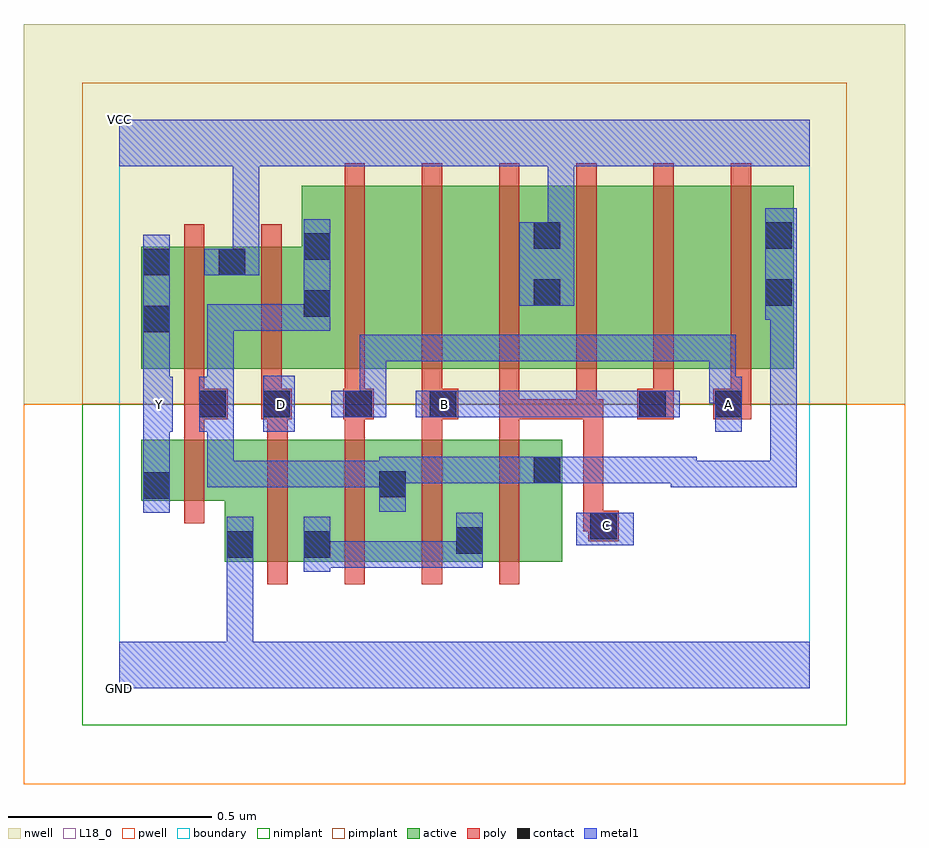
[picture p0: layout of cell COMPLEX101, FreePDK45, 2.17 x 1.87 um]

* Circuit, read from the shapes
.subckt COMPLEX101 A B C D GND VCC Y
M1 GND n1 Y VSUBS nfet w=0.15u l=0.05u
M2 n2 D GND VSUBS nfet w=0.3u l=0.05u
M3 n1 A n2 VSUBS nfet w=0.3u l=0.05u
M4 n2 B n1 VSUBS nfet w=0.3u l=0.05u
M5 n1 C n2 VSUBS nfet w=0.3u l=0.05u
M6 VCC n1 Y n3 pfet w=0.3u l=0.05u
M7 n1 D VCC n3 pfet w=0.3u l=0.05u
M8 n4 A n1 n3 pfet w=0.45u l=0.05u
M9 n5 B n4 n3 pfet w=0.45u l=0.05u
M10 VCC C n5 n3 pfet w=0.45u l=0.05u
M11 n6 C VCC n3 pfet w=0.45u l=0.05u
M12 n7 B n6 n3 pfet w=0.45u l=0.05u
M13 n1 A n7 n3 pfet w=0.45u l=0.05u
.ends

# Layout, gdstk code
import gdstk
lib = gdstk.Library(unit=1e-6, precision=1e-09)
def R(c, l, rs):  # rectangles x0, y0, x1, y1
    for r in rs: c.add(gdstk.rectangle(r[:2], r[2:], *l))
def A(c, l, x, y, w, h, nx, ny, dx, dy):  # array of equal rectangles
    R(c, l, [(x+i*dx, y+j*dy, x+i*dx+w, y+j*dy+h) for i in range(nx) for j in range(ny)])
active = (1, 0)
pwell = (2, 0)
nwell = (3, 0)
nimplant = (4, 0)
pimplant = (5, 0)
poly = (9, 0)
contact = (10, 0)
metal1 = (11, 0)
L18_0 = (18, 0)
boundary = (235, 0)

complex101 = lib.new_cell('COMPLEX101')
R(complex101, active, [(0.26,0.312,0.525,0.612), (0.45,0.312,0.71,0.612), (0.635,0.312,0.9,0.612), (0.825,0.312,1.09,0.612), (0.26,0.317,0.335,0.547), (0.45,0.317,0.525,0.547), (0.825,0.327,0.9,0.547), (0.635,0.345,0.71,0.54), (1.015,0.345,1.09,0.612), (0.055,0.462,0.335,0.612), (0.055,0.462,0.13,0.612), (0.055,0.787,0.315,1.087), (0.055,0.787,0.13,1.087), (0.24,0.787,0.525,1.087), (0.45,0.787,0.525,1.2), (0.45,0.787,0.675,1.237), (0.675,0.787,0.865,1.237), (0.865,0.787,1.09,1.237), (1.015,0.787,1.245,1.237), (1.015,0.787,1.09,1.237), (1.245,0.787,1.435,1.237), (1.435,0.787,1.66,1.237), (1.585,0.787,1.66,1.2), (0.24,1.007,0.315,1.087)])
R(complex101, pwell, [(-0.235,-0.235,1.935,0.7)])
R(complex101, nwell, [(-0.235,0.7,1.935,1.635)])
R(complex101, nimplant, [(-0.09,-0.09,1.79,0.7)])
R(complex101, pimplant, [(-0.09,0.7,1.79,1.49)])
A(complex101, poly, 0.365, 0.257, 0.05, 0.41, 4, 1, 0.19, 0)
A(complex101, poly, 0.365, 0.617, 0.05, 0.095, 4, 1, 0.19, 0)
A(complex101, poly, 0.555, 0.732, 0.05, 0.56, 6, 1, 0.19, 0)
R(complex101, poly, [(1.155,0.362,1.23,0.437), (1.142,0.387,1.192,0.712), (1.142,0.387,1.205,0.437), (1.155,0.387,1.205,0.437), (0.16,0.407,0.21,0.667), (0.16,0.617,0.21,0.712), (0.16,0.662,0.267,0.737), (0.35,0.662,0.425,0.737), (0.552,0.662,0.627,0.737), (0.745,0.662,0.835,0.737), (0.935,0.662,0.985,0.782), (0.935,0.662,1.175,0.712), (0.935,0.662,0.985,0.712), (0.935,0.662,0.985,0.712), (0.935,0.662,0.985,0.712), (1.125,0.662,1.175,0.782), (1.125,0.662,1.192,0.712), (1.275,0.662,1.365,0.737), (1.462,0.662,1.555,0.737), (0.16,0.687,0.21,0.782), (0.35,0.687,0.4,0.782), (0.555,0.687,0.605,0.782), (0.745,0.687,0.795,0.782), (1.315,0.687,1.365,0.782), (1.505,0.687,1.555,0.782), (0.16,0.732,0.21,1.142), (0.35,0.732,0.4,1.142)])
R(complex101, contact, [(0.265,0.322,0.33,0.387), (0.455,0.322,0.52,0.387), (0.83,0.332,0.895,0.397), (1.16,0.367,1.225,0.432), (0.06,0.467,0.125,0.532), (0.64,0.47,0.705,0.535), (1.02,0.505,1.085,0.57), (0.197,0.667,0.262,0.732), (0.355,0.667,0.42,0.732), (0.557,0.667,0.622,0.732), (0.765,0.667,0.83,0.732), (1.28,0.667,1.345,0.732), (1.467,0.667,1.532,0.732), (0.06,0.877,0.125,0.942), (0.455,0.915,0.52,0.98), (1.02,0.942,1.085,1.007), (1.59,0.942,1.655,1.007), (0.06,1.017,0.125,1.082), (0.245,1.017,0.31,1.082), (0.455,1.055,0.52,1.12), (1.02,1.082,1.085,1.147), (1.59,1.082,1.655,1.147)])
R(complex101, metal1, [(0,0,1.7,0.115), (0.265,0.05,0.33,0.115), (0.265,0.05,0.33,0.115), (0.265,0.05,0.33,0.352), (0.265,0.287,0.33,0.352), (0.265,0.287,0.33,0.352), (0.265,0.287,0.33,0.422), (0.455,0.287,0.52,0.422), (0.455,0.297,0.657,0.362), (0.592,0.297,0.657,0.362), (0.592,0.297,0.657,0.362), (0.592,0.297,0.657,0.362), (0.592,0.297,0.872,0.362), (0.807,0.297,0.872,0.362), (0.807,0.297,0.895,0.362), (0.83,0.297,0.895,0.432), (1.125,0.352,1.267,0.432), (0.06,0.432,0.125,0.567), (0.64,0.435,0.705,0.57), (0.217,0.495,0.282,0.56), (0.217,0.495,0.45,0.56), (0.217,0.495,0.282,0.767), (0.385,0.495,0.45,0.56), (0.385,0.495,0.45,0.56), (0.385,0.495,0.45,0.56), (0.385,0.495,0.62,0.56), (0.555,0.495,0.62,0.56), (0.555,0.495,0.705,0.56), (1.357,0.495,1.667,0.56), (1.357,0.495,1.422,0.57), (1.602,0.495,1.667,0.972), (1.602,0.495,1.667,0.56), (1.602,0.495,1.667,0.56), (1.602,0.495,1.667,0.56), (1.602,0.495,1.667,0.56), (1.602,0.495,1.667,0.56), (0.06,0.502,0.125,0.697), (0.64,0.505,0.842,0.57), (0.777,0.505,0.842,0.57), (0.777,0.505,0.842,0.57), (0.777,0.505,0.842,0.57), (0.777,0.505,1.01,0.57), (0.945,0.505,1.01,0.57), (0.945,0.505,1.05,0.57), (0.985,0.505,1.12,0.57), (1.055,0.505,1.147,0.57), (1.082,0.505,1.147,0.57), (1.082,0.505,1.285,0.57), (1.22,0.505,1.285,0.57), (1.22,0.505,1.285,0.57), (1.22,0.505,1.285,0.57), (1.22,0.505,1.422,0.57), (0.06,0.632,0.132,0.767), (0.197,0.632,0.262,0.767), (0.355,0.632,0.432,0.77), (1.467,0.632,1.532,0.767), (0.522,0.667,0.657,0.732), (0.592,0.667,0.657,0.732), (0.592,0.667,0.657,0.732), (0.592,0.667,0.657,0.87), (0.73,0.667,0.867,0.732), (0.802,0.667,0.867,0.732), (0.802,0.667,0.867,0.732), (0.802,0.667,1.01,0.732), (0.945,0.667,1.01,0.732), (0.945,0.667,1.147,0.732), (1.082,0.667,1.147,0.732), (1.082,0.667,1.147,0.732), (1.082,0.667,1.147,0.732), (1.082,0.667,1.285,0.732), (1.22,0.667,1.285,0.732), (1.22,0.667,1.31,0.732), (1.245,0.667,1.38,0.732), (0.06,0.702,0.125,0.907), (0.197,0.702,0.282,0.767), (0.217,0.702,0.282,0.767), (0.217,0.702,0.282,0.945), (1.452,0.702,1.517,0.767), (1.452,0.702,1.532,0.767), (1.452,0.702,1.517,0.87), (0.592,0.805,0.657,0.87), (0.592,0.805,0.872,0.87), (0.807,0.805,0.872,0.87), (0.807,0.805,0.872,0.87), (0.807,0.805,0.872,0.87), (0.807,0.805,1.01,0.87), (0.945,0.805,1.01,0.87), (0.945,0.805,1.147,0.87), (1.082,0.805,1.147,0.87), (1.082,0.805,1.147,0.87), (1.082,0.805,1.147,0.87), (1.082,0.805,1.285,0.87), (1.22,0.805,1.285,0.87), (1.22,0.805,1.4,0.87), (1.335,0.805,1.4,0.87), (1.335,0.805,1.517,0.87), (1.452,0.805,1.517,0.87), (0.06,0.842,0.125,1.117), (0.217,0.88,0.282,0.945), (0.217,0.88,0.45,0.945), (0.385,0.88,0.45,0.945), (0.385,0.88,0.52,0.945), (0.455,0.88,0.52,1.155), (1.59,0.907,1.667,1.182), (0.985,0.942,1.12,1.147), (0.21,1.017,0.345,1.082), (0.28,1.017,0.345,1.35), (1.055,1.082,1.12,1.35), (0,1.285,1.7,1.4), (0.28,1.285,0.345,1.35), (0.28,1.285,0.345,1.35)])
R(complex101, L18_0, [(0,0,1.7,0.115), (0.265,0.05,0.33,0.115), (0.265,0.05,0.33,0.115), (0.265,0.05,0.33,0.352), (0.265,0.287,0.33,0.422), (0.265,0.287,0.33,0.352), (0.265,0.287,0.33,0.352), (1.125,0.352,1.267,0.432), (1.167,0.367,1.232,0.432), (0.06,0.432,0.125,0.567), (0.06,0.502,0.125,0.697), (0.06,0.632,0.132,0.767), (0.355,0.632,0.432,0.77), (1.467,0.632,1.532,0.767), (0.067,0.667,0.132,0.732), (0.367,0.667,0.432,0.732), (0.522,0.667,0.657,0.732), (0.592,0.667,0.657,0.732), (0.592,0.667,0.657,0.732), (0.592,0.667,0.657,0.87), (0.73,0.667,0.867,0.732), (0.767,0.667,0.832,0.732), (0.802,0.667,0.867,0.732), (0.802,0.667,0.867,0.732), (0.802,0.667,1.01,0.732), (0.945,0.667,1.01,0.732), (0.945,0.667,1.147,0.732), (1.082,0.667,1.147,0.732), (1.082,0.667,1.147,0.732), (1.082,0.667,1.147,0.732), (1.082,0.667,1.285,0.732), (1.22,0.667,1.285,0.732), (1.22,0.667,1.31,0.732), (1.245,0.667,1.38,0.732), (1.467,0.667,1.532,0.732), (0.06,0.702,0.125,0.907), (1.452,0.702,1.517,0.767), (1.452,0.702,1.517,0.87), (1.452,0.702,1.532,0.767), (0.592,0.805,0.657,0.87), (0.592,0.805,0.872,0.87), (0.807,0.805,0.872,0.87), (0.807,0.805,0.872,0.87), (0.807,0.805,0.872,0.87), (0.807,0.805,1.01,0.87), (0.945,0.805,1.01,0.87), (0.945,0.805,1.147,0.87), (1.082,0.805,1.147,0.87), (1.082,0.805,1.147,0.87), (1.082,0.805,1.147,0.87), (1.082,0.805,1.285,0.87), (1.22,0.805,1.285,0.87), (1.22,0.805,1.4,0.87), (1.335,0.805,1.4,0.87), (1.335,0.805,1.517,0.87), (1.452,0.805,1.517,0.87), (0.06,0.842,0.125,1.117), (0.985,0.942,1.12,1.147), (0.21,1.017,0.345,1.082), (0.28,1.017,0.345,1.35), (1.055,1.082,1.12,1.35), (0,1.285,1.7,1.4), (0.28,1.285,0.345,1.35), (0.28,1.285,0.345,1.35)])
R(complex101, boundary, [(0,0,1.7,1.4)])
complex101.add(gdstk.Label('A', (1.5,0.7), layer=11, texttype=0))
complex101.add(gdstk.Label('B', (0.8,0.7), layer=11, texttype=0))
complex101.add(gdstk.Label('C', (1.2,0.4), layer=11, texttype=0))
complex101.add(gdstk.Label('D', (0.4,0.7), layer=11, texttype=0))
complex101.add(gdstk.Label('Y', (0.1,0.7), layer=11, texttype=0))
complex101.add(gdstk.Label('VCC', (0,1.4), layer=11, texttype=0))
complex101.add(gdstk.Label('GND', (0,0), layer=11, texttype=0))

lib.write_gds('COMPLEX101.gds')
